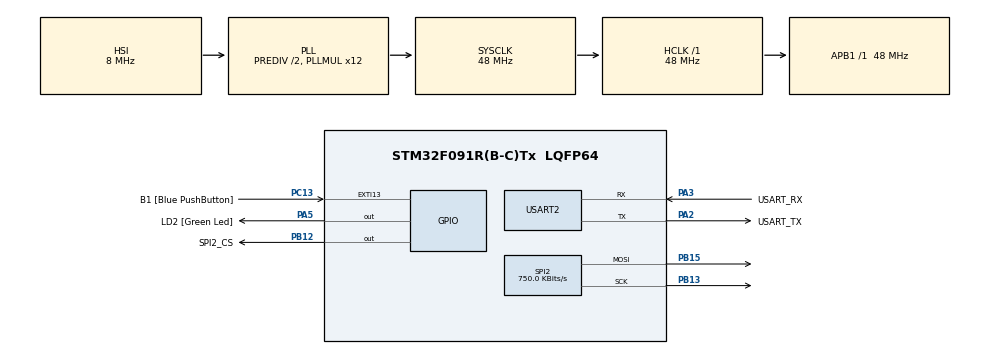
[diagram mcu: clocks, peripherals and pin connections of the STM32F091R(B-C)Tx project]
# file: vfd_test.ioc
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Mcu.Family=STM32F0
Mcu.Name=STM32F091R(B-C)Tx
Mcu.Package=LQFP64
NVIC.TIM14_IRQn=true\:0\:0\:false\:false\:true\:true\:true\:true
PA13.GPIO_Label=TMS
PA13.Mode=Serial_Wire
PA13.Signal=SYS_SWDIO
PA14.GPIO_Label=TCK
PA14.Mode=Serial_Wire
PA14.Signal=SYS_SWCLK
PA2.GPIO_Label=USART_TX
PA2.GPIO_Mode=GPIO_MODE_AF_PP
PA2.GPIO_PuPd=GPIO_NOPULL
PA2.GPIO_Speed=GPIO_SPEED_FREQ_LOW
PA2.Mode=Asynchronous
PA2.Signal=USART2_TX
PA3.GPIO_Label=USART_RX
PA3.GPIO_Mode=GPIO_MODE_AF_PP
PA3.GPIO_PuPd=GPIO_NOPULL
PA3.GPIO_Speed=GPIO_SPEED_FREQ_LOW
PA3.Mode=Asynchronous
PA3.Signal=USART2_RX
PA5.GPIO_Label=LD2 [Green Led]
PA5.GPIO_Mode=GPIO_MODE_OUTPUT_PP
PA5.GPIO_PuPd=GPIO_NOPULL
PA5.GPIO_Speed=GPIO_SPEED_FREQ_LOW
PA5.Signal=GPIO_Output
PB12.GPIO_Label=SPI2_CS
PB12.GPIO_Speed=GPIO_SPEED_FREQ_HIGH
PB12.PinState=GPIO_PIN_SET
PB12.Signal=GPIO_Output
PB13.Mode=TX_Only_Simplex_Unidirect_Master
PB13.Signal=SPI2_SCK
PB15.Mode=TX_Only_Simplex_Unidirect_Master
PB15.Signal=SPI2_MOSI
PC13.GPIO_Label=B1 [Blue PushButton]
PC13.GPIO_ModeDefaultEXTI=GPIO_MODE_IT_FALLING
PC13.Signal=GPXTI13
PC14OSC32_IN.Mode=LSE-External-Oscillator
PC14OSC32_IN.Signal=RCC_OSC32_IN
PC15OSC32_OUT.Mode=LSE-External-Oscillator
PC15OSC32_OUT.Signal=RCC_OSC32_OUT
PF0-OSC_IN.Mode=HSE-External-Clock-Source
PF0-OSC_IN.Signal=RCC_OSC_IN
PF1-OSC_OUT.Signal=RCC_OSC_OUT
ProjectManager.HeapSize=0x200
ProjectManager.StackSize=0x400
ProjectManager.TargetToolchain=STM32CubeIDE
RCC.AHBFreq_Value=48000000
RCC.APB1Freq_Value=48000000
RCC.APB1TimFreq_Value=48000000
RCC.FLatency-AdvancedSettings=FLASH_LATENCY_1
RCC.HCLKFreq_Value=48000000
RCC.PLLDivider=RCC_PREDIV_DIV2
RCC.PLLMUL=RCC_PLL_MUL12
RCC.PREFETCH_ENABLE-AdvancedSettings=1
RCC.SYSCLKFreq_VALUE=48000000
RCC.SYSCLKSource=RCC_SYSCLKSOURCE_PLLCLK
SPI2.BaudRatePrescaler=SPI_BAUDRATEPRESCALER_64
SPI2.CLKPhase=SPI_PHASE_2EDGE
SPI2.CLKPolarity=SPI_POLARITY_HIGH
SPI2.CalculateBaudRate=750.0 KBits/s
SPI2.DataSize=SPI_DATASIZE_8BIT
SPI2.Direction=SPI_DIRECTION_2LINES
SPI2.FirstBit=SPI_FIRSTBIT_LSB
SPI2.Mode=SPI_MODE_MASTER
SPI2.VirtualType=VM_MASTER
TIM14.AutoReloadPreload=TIM_AUTORELOAD_PRELOAD_ENABLE
TIM14.Period=53333-1
TIM14.Prescaler=450-1
USART2.VirtualMode=VM_ASYNC
USART2.VirtualMode-Asynchronous=VM_ASYNC
VP_TIM14_VS_ClockSourceINT.Mode=Enable_Timer
board=NUCLEO-F091RC

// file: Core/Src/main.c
/* USER CODE BEGIN Header */
/**
  ******************************************************************************
  * @file           : main.c
  * @brief          : Main program body
  ******************************************************************************
  * @attention
  *
  * Copyright (c) 2024 STMicroelectronics.
  * All rights reserved.
  *
  * This software is licensed under terms that can be found in the LICENSE file
  * in the root directory of this software component.
  * If no LICENSE file comes with this software, it is provided AS-IS.
  *
  ******************************************************************************
  */
/* USER CODE END Header */
#include "main.h"

/* USER CODE BEGIN Includes */
#include <string.h>

#include "vfd_controller.h"

//#include "pt6315.h"
//#include "sc16311.h"
#include "cs16312.h"
/* USER CODE END Includes */

/* USER CODE BEGIN PM */
#define SYSTICK_LOAD (SystemCoreClock/1000000U)
#define SYSTICK_DELAY_CALIB (SYSTICK_LOAD >> 1)

#define DELAY_US(us) \
    do { \
         uint32_t start = SysTick->VAL; \
         uint32_t ticks = (us * SYSTICK_LOAD)-SYSTICK_DELAY_CALIB;  \
         while((start - SysTick->VAL) < ticks); \
    } while (0)
/* USER CODE END PM */

SPI_HandleTypeDef hspi2;

TIM_HandleTypeDef htim14;

UART_HandleTypeDef huart2;

/* USER CODE BEGIN PV */
//static uint8_t display_buffer[PT6315_RAM_SIZE];
//static uint8_t display_buffer[SC16311_RAM_SIZE];
static uint8_t display_buffer[CS16312_RAM_SIZE];
/* USER CODE END PV */

void SystemClock_Config(void);
static void MX_GPIO_Init(void);
static void MX_USART2_UART_Init(void);
static void MX_SPI2_Init(void);
static void MX_TIM14_Init(void);

/* USER CODE BEGIN 0 */
static void vfd_serial_spi2_prepare_write()
{
  DELAY_US(1);
  HAL_GPIO_WritePin(SPI2_CS_GPIO_Port, SPI2_CS_Pin, GPIO_PIN_RESET);
}

static void vfd_serial_spi2_finish_write()
{
  HAL_GPIO_WritePin(SPI2_CS_GPIO_Port, SPI2_CS_Pin, GPIO_PIN_SET);
  DELAY_US(1);
}

static void vfd_serial_spi2_write_byte(uint8_t byte)
{
  HAL_SPI_Transmit(&hspi2, &byte, 1, 2);
}

static const vfd_serial vfd_serial_spi2 = {
    .prepare_write = &vfd_serial_spi2_prepare_write,
    .finish_write = &vfd_serial_spi2_finish_write,
    .write_byte = &vfd_serial_spi2_write_byte,
};
/*
static const vfd_controller pt6315 = {
    .serial = &vfd_serial_spi2,
    .max_digits = PT6315_MAX_DIGS,
    .max_segments = PT6315_MAX_SEGS,
};

static const vfd_controller sc16311 = {
    .serial = &vfd_serial_spi2,
    .max_digits = SC16311_MAX_DIGS,
    .max_segments = SC16311_MAX_SEGS,
};
*/
static const vfd_controller cs16312 = {
    .serial = &vfd_serial_spi2,
    .max_digits = CS16312_MAX_DIGS,
    .max_segments = CS16312_MAX_SEGS,
};

static const vfd_controller* const cntrl = &cs16312;
/* USER CODE END 0 */

int main(void)
{

  /* MCU Configuration--------------------------------------------------------*/

  /* Reset of all peripherals, Initializes the Flash interface and the Systick. */
  HAL_Init();

  /* Configure the system clock */
  SystemClock_Config();

  /* USER CODE BEGIN SysInit */
  HAL_Delay(200);
  /* USER CODE END SysInit */

  /* Initialize all configured peripherals */
  MX_GPIO_Init();
  MX_USART2_UART_Init();
  MX_SPI2_Init();
  MX_TIM14_Init();
  /* USER CODE BEGIN 2 */
  HAL_TIM_Base_Start_IT(&htim14);
//  vfd_common_init(cntrl, PT6315_MODE_12DIG_16SEG);
//  vfd_common_init(cntrl, SC16311_MODE_13DIG_15SEG);
  vfd_common_init(cntrl, CS16312_MODE_8_DIG_14SEG);
  /* USER CODE END 2 */

  /* Infinite loop */
  /* USER CODE BEGIN WHILE */
  while (1)
  {
    for (int i = 0; i < 3; i++) {
	memset(display_buffer, 0xFF, sizeof(display_buffer));
	vfd_write_data(cntrl, 0x00, display_buffer, sizeof(display_buffer));
	HAL_Delay(500);
	memset(display_buffer, 0x00, sizeof(display_buffer));
	vfd_write_data(cntrl, 0x00, display_buffer, sizeof(display_buffer));
	HAL_Delay(500);
    }
    // t3
    for (int d = 1; d <= cntrl->max_digits; d++) {
	for (int s = 1; s <= cntrl->max_segments; s++) {
	    memset(display_buffer, 0, sizeof(display_buffer));
	    vfd_enable_segment(cntrl, display_buffer, sizeof(display_buffer), d, s);
	    vfd_write_data(cntrl, 0x00, display_buffer, sizeof(display_buffer));
	    HAL_Delay(250);
	}
    }
    /* USER CODE END WHILE */

  }
}

void SystemClock_Config(void)
{
  RCC_OscInitTypeDef RCC_OscInitStruct = {0};
  RCC_ClkInitTypeDef RCC_ClkInitStruct = {0};
  RCC_PeriphCLKInitTypeDef PeriphClkInit = {0};

  /** Initializes the RCC Oscillators according to the specified parameters
  * in the RCC_OscInitTypeDef structure.
  */
  RCC_OscInitStruct.OscillatorType = RCC_OSCILLATORTYPE_HSI;
  RCC_OscInitStruct.HSIState = RCC_HSI_ON;
  RCC_OscInitStruct.HSICalibrationValue = RCC_HSICALIBRATION_DEFAULT;
  RCC_OscInitStruct.PLL.PLLState = RCC_PLL_ON;
  RCC_OscInitStruct.PLL.PLLSource = RCC_PLLSOURCE_HSI;
  RCC_OscInitStruct.PLL.PLLMUL = RCC_PLL_MUL12;
  RCC_OscInitStruct.PLL.PREDIV = RCC_PREDIV_DIV2;
  if (HAL_RCC_OscConfig(&RCC_OscInitStruct) != HAL_OK)
  {
    Error_Handler();
  }

  /** Initializes the CPU, AHB and APB buses clocks
  */
  RCC_ClkInitStruct.ClockType = RCC_CLOCKTYPE_HCLK|RCC_CLOCKTYPE_SYSCLK
                              |RCC_CLOCKTYPE_PCLK1;
  RCC_ClkInitStruct.SYSCLKSource = RCC_SYSCLKSOURCE_PLLCLK;
  RCC_ClkInitStruct.AHBCLKDivider = RCC_SYSCLK_DIV1;
  RCC_ClkInitStruct.APB1CLKDivider = RCC_HCLK_DIV1;

  if (HAL_RCC_ClockConfig(&RCC_ClkInitStruct, FLASH_LATENCY_1) != HAL_OK)
  {
    Error_Handler();
  }
  PeriphClkInit.PeriphClockSelection = RCC_PERIPHCLK_USART2;
  PeriphClkInit.Usart2ClockSelection = RCC_USART2CLKSOURCE_PCLK1;
  if (HAL_RCCEx_PeriphCLKConfig(&PeriphClkInit) != HAL_OK)
  {
    Error_Handler();
  }
}

static void MX_SPI2_Init(void)
{

  /* SPI2 parameter configuration*/
  hspi2.Instance = SPI2;
  hspi2.Init.Mode = SPI_MODE_MASTER;
  hspi2.Init.Direction = SPI_DIRECTION_2LINES;
  hspi2.Init.DataSize = SPI_DATASIZE_8BIT;
  hspi2.Init.CLKPolarity = SPI_POLARITY_HIGH;
  hspi2.Init.CLKPhase = SPI_PHASE_2EDGE;
  hspi2.Init.NSS = SPI_NSS_SOFT;
  hspi2.Init.BaudRatePrescaler = SPI_BAUDRATEPRESCALER_64;
  hspi2.Init.FirstBit = SPI_FIRSTBIT_LSB;
  hspi2.Init.TIMode = SPI_TIMODE_DISABLE;
  hspi2.Init.CRCCalculation = SPI_CRCCALCULATION_DISABLE;
  hspi2.Init.CRCPolynomial = 7;
  hspi2.Init.CRCLength = SPI_CRC_LENGTH_DATASIZE;
  hspi2.Init.NSSPMode = SPI_NSS_PULSE_DISABLE;
  if (HAL_SPI_Init(&hspi2) != HAL_OK)
  {
    Error_Handler();
  }

}

static void MX_TIM14_Init(void)
{

  htim14.Instance = TIM14;
  htim14.Init.Prescaler = 450-1;
  htim14.Init.CounterMode = TIM_COUNTERMODE_UP;
  htim14.Init.Period = 53333-1;
  htim14.Init.ClockDivision = TIM_CLOCKDIVISION_DIV1;
  htim14.Init.AutoReloadPreload = TIM_AUTORELOAD_PRELOAD_ENABLE;
  if (HAL_TIM_Base_Init(&htim14) != HAL_OK)
  {
    Error_Handler();
  }

}

static void MX_USART2_UART_Init(void)
{

  huart2.Instance = USART2;
  huart2.Init.BaudRate = 115200;
  huart2.Init.WordLength = UART_WORDLENGTH_8B;
  huart2.Init.StopBits = UART_STOPBITS_1;
  huart2.Init.Parity = UART_PARITY_NONE;
  huart2.Init.Mode = UART_MODE_TX_RX;
  huart2.Init.HwFlowCtl = UART_HWCONTROL_NONE;
  huart2.Init.OverSampling = UART_OVERSAMPLING_16;
  huart2.Init.OneBitSampling = UART_ONE_BIT_SAMPLE_DISABLE;
  huart2.AdvancedInit.AdvFeatureInit = UART_ADVFEATURE_NO_INIT;
  if (HAL_UART_Init(&huart2) != HAL_OK)
  {
    Error_Handler();
  }

}

static void MX_GPIO_Init(void)
{
  GPIO_InitTypeDef GPIO_InitStruct = {0};

  /* GPIO Ports Clock Enable */
  __HAL_RCC_GPIOC_CLK_ENABLE();
  __HAL_RCC_GPIOF_CLK_ENABLE();
  __HAL_RCC_GPIOA_CLK_ENABLE();
  __HAL_RCC_GPIOB_CLK_ENABLE();

  /*Configure GPIO pin Output Level */
  HAL_GPIO_WritePin(LD2_GPIO_Port, LD2_Pin, GPIO_PIN_RESET);

  /*Configure GPIO pin Output Level */
  HAL_GPIO_WritePin(SPI2_CS_GPIO_Port, SPI2_CS_Pin, GPIO_PIN_SET);

  /*Configure GPIO pin : B1_Pin */
  GPIO_InitStruct.Pin = B1_Pin;
  GPIO_InitStruct.Mode = GPIO_MODE_IT_FALLING;
  GPIO_InitStruct.Pull = GPIO_NOPULL;
  HAL_GPIO_Init(B1_GPIO_Port, &GPIO_InitStruct);

  /*Configure GPIO pin : LD2_Pin */
  GPIO_InitStruct.Pin = LD2_Pin;
  GPIO_InitStruct.Mode = GPIO_MODE_OUTPUT_PP;
  GPIO_InitStruct.Pull = GPIO_NOPULL;
  GPIO_InitStruct.Speed = GPIO_SPEED_FREQ_LOW;
  HAL_GPIO_Init(LD2_GPIO_Port, &GPIO_InitStruct);

  /*Configure GPIO pin : SPI2_CS_Pin */
  GPIO_InitStruct.Pin = SPI2_CS_Pin;
  GPIO_InitStruct.Mode = GPIO_MODE_OUTPUT_PP;
  GPIO_InitStruct.Pull = GPIO_NOPULL;
  GPIO_InitStruct.Speed = GPIO_SPEED_FREQ_HIGH;
  HAL_GPIO_Init(SPI2_CS_GPIO_Port, &GPIO_InitStruct);

}

/* USER CODE BEGIN 4 */
void HAL_TIM_PeriodElapsedCallback(TIM_HandleTypeDef *htim)
{
  HAL_GPIO_TogglePin(LD2_GPIO_Port, LD2_Pin);
}
/* USER CODE END 4 */

void Error_Handler(void)
{
  __disable_irq();
  while (1)
  {
  }
}
